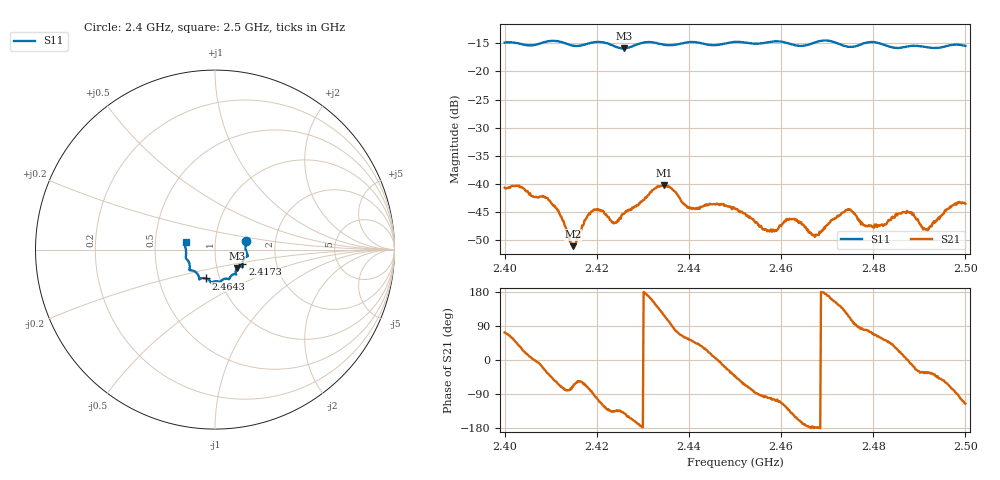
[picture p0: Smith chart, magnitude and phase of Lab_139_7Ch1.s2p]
# Hz S RI R 50
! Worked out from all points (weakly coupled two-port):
!   601 points, 2.4 GHz to 2.5 GHz, reference 50 ohm
!   highest |S21| = -40.19 dB at 2.4347 GHz (marker M1); lowest = -51.1 dB at 2.4148 GHz (marker M2)
!   lowest |S11| = -15.9 dB at 2.4258 GHz (marker M3), VSWR 1.38, Z = 62.3 - j13.3 ohm
!   |S11| at or under -10 dB: start of sweep to end of sweep
!   S12 and S22 are empty: the file has one direction only
!   S11 on the Smith chart (normalised r, x): 2.4 GHz: 1.41, +0.14; 2.4173 GHz: 1.34, -0.23; 2.4643 GHz: 0.86, -0.29; 2.5 GHz: 0.72, +0.06
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2.4e9  0.1737 0.049  0.00274 0.00882  0 0  0 0
2.409333e9  0.1825 -0.0299  0.00613 -0.00426  0 0  0 0
2.411833e9  0.1809 -0.0364  0.0023 -0.00502  0 0  0 0
2.414833e9  0.1603 -0.054  0.000929 -0.00263  0 0  0 0
2.416667e9  0.1529 -0.0744  0.0021 -0.00333  0 0  0 0
2.417333e9  0.1522 -0.0819  0.00196 -0.00431  0 0  0 0
2.419833e9  0.1543 -0.097  -0.000821 -0.0058  0 0  0 0
2.423833e9  0.1385 -0.0943  -0.00319 -0.00316  0 0  0 0
2.425833e9  0.122 -0.1038  -0.00412 -0.00347  0 0  0 0
2.433333e9  0.1126 -0.1364  -0.00704 0.00635  0 0  0 0
2.434667e9  0.1044 -0.1369  -0.00451 0.00869  0 0  0 0
2.440167e9  0.0796 -0.164  0.00366 0.00481  0 0  0 0
2.45e9  0.0291 -0.1806  0.00451 -0.00399  0 0  0 0
2.457e9  -0.0134 -0.1808  -0.000607 -0.00374  0 0  0 0
2.464333e9  -0.05 -0.1609  -0.00439 -0.00128  0 0  0 0
2.466667e9  -0.076 -0.1597  -0.00351 -0.000276  0 0  0 0
2.4745e9  -0.1016 -0.131  -0.00281 0.00524  0 0  0 0
2.478333e9  -0.1373 -0.1154  0.000744 0.00414  0 0  0 0
2.483333e9  -0.1404 -0.09  0.00315 0.00359  0 0  0 0
2.487833e9  -0.1595 -0.0519  0.00552 -0.000535  0 0  0 0
2.491667e9  -0.1614 -0.0287  0.00322 -0.00207  0 0  0 0
2.5e9  -0.1632 0.0419  -0.00281 -0.00603  0 0  0 0
